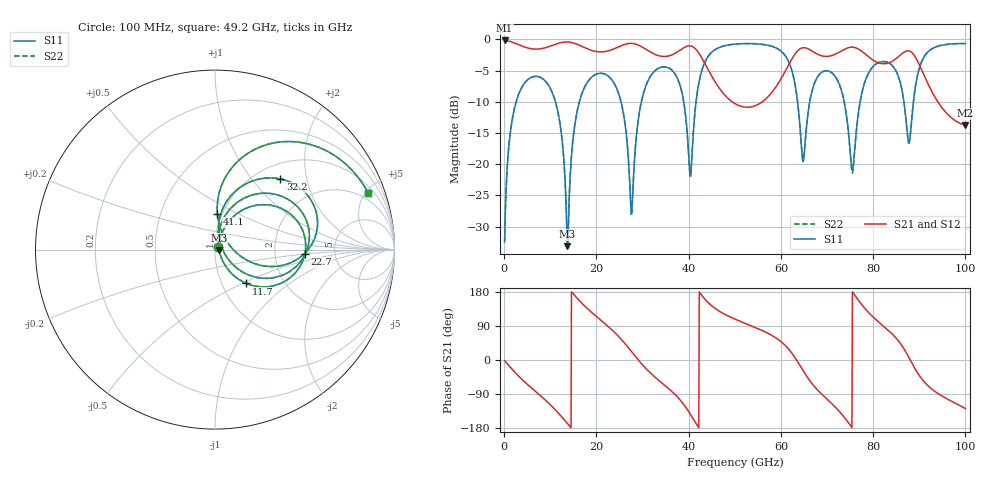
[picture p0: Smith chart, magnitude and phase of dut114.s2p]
! Touchstone file exported from HFSS 2026.1.0
!  File:  C:/ffzhzh/LocalFiles/Ansys_Project_Files/temp_train_TSV_RDL_114_1783457869_41684.aedt
!  Generated:  05:09:33 AM Jul  8, 2026
!  Design:  TSV_RDL
!  Project:  temp_train_TSV_RDL_114_1783457869_41684
! Variables:
!  h_bsmrdl = 4.75um
!  h_ox = 20um
!  h_rdl = 5um
!  h_sub = 87.86um
!  h_tmrdl = 3.86um
!  h_tsv = 87.86um
!  h_via = 3um
!  l_bsmrdl = 279.56um
!  l_sub = 3782.44um
!  l_tmrdl = 610.38um
!  m_sub = 200um
!  pitch = 49.2um
!  r_tsv = 13.8um
!  s_tmrdl = 10um
!  w_bsmrdl = 18.85um
!  w_sub = 500um
!  w_tmrdl = 15.23um
!  x_tsv_center1 = 617.995um
!  x_tsv_center2 = 916.405um
!  x_tsv_center3 = 1542.015um
!  x_tsv_center4 = 1840.425um
!  x_tsv_center5 = 2466.035um
!  x_tsv_center6 = 2764.445um
# GHz S MA R 50.000000
! Terminal data exported
! Port[1] = TM_RDL1_1_T1
! Port[2] = TM_RDL5_1_T1
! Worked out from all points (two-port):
!   1000 points, 100 MHz to 100 GHz, reference 50 ohm
!   highest |S21| = -0.17 dB at 100 MHz (marker M1); lowest = -13.7 dB at 100 GHz (marker M2)
!   |S21| within 3 dB of the highest: start of sweep to 43 GHz; 62.37 GHz to 79.68 GHz (17.32 GHz wide, 24.4 % of centre) (the widest 2 of 3)
!   lowest |S11| = -33.1 dB at 13.7 GHz (marker M3), VSWR 1.05, Z = 52.3 - j0.151 ohm
!   |S11| at or under -10 dB: 11.11 GHz to 16.3 GHz (5.19 GHz wide, 37.9 % of centre); 25.33 GHz to 29.75 GHz (4.413 GHz wide, 16 % of centre); 73.72 GHz to 77.17 GHz (3.443 GHz wide, 4.56 % of centre) (the widest 3 of 7)
!   |S22| runs from -32.9 to -0.7 dB; largest |S21 - S12| = 2.9e-13
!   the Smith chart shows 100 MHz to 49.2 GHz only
!   S11 on the Smith chart (normalised r, x): 100 MHz: 1.04, +0.03; 11.7 GHz: 1.30, -0.53; 22.7 GHz: 3.01, -0.20; 32.2 GHz: 1.28, +1.41; 41.1 GHz: 0.95, +0.39; 49.2 GHz: 1.42, +5.20
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0.1  0.02386 36.5  0.9811 -1.5  0.9811 -1.5  0.02386 36.5
! Gamma 0 0 0 0
! Port Impedance 50 0 50 0
3.7  0.4046 37.2  0.8893 -49.3  0.8893 -49.3  0.4046 37.2
11.7  0.2571 -47.2  0.9295 -139.3  0.9295 -139.3  0.2572 -47.1
13.7  0.02208 -3.7  0.9546 -167.3  0.9546 -167.3  0.02264 -3.4
16.8  0.3627 56.4  0.8807 150.5  0.8807 150.5  0.3628 56.3
22.7  0.5035 -2.8  0.8122 86.9  0.8122 86.9  0.5036 -2.9
27.6  0.0399 18.7  0.9294 22.5  0.9294 22.5  0.03872 18.4
32.2  0.5366 47.2  0.7743 -39.8  0.7743 -39.8  0.5365 47.2
33.4  0.5861 35.6  0.7424 -52.5  0.7424 -52.5  0.586 35.7
38.5  0.3817 -13.5  0.8372 -110.5  0.8372 -110.5  0.3818 -13.4
41.1  0.1992 86.2  0.8652 -157.7  0.8652 -157.7  0.1991 86.2
49.2  0.9096 20.4  0.3214 112.5  0.3214 112.5  0.9095 20.4
50.1  0.9175 15.9  0.3051 107.6  0.3051 107.6  0.9174 16.0
61.3  0.7064 -49.2  0.5884 33.9  0.5884 33.9  0.7066 -49.1
64.8  0.1047 -26.9  0.8584 -27.9  0.8584 -27.9  0.1086 -26.9
66.7  0.3802 17.8  0.8093 -61.6  0.8093 -61.6  0.3809 17.3
72.1  0.4838 -33.3  0.771 -128.0  0.771 -128.0  0.4834 -33.8
75.3  0.09741 -21.1  0.8671 -176.6  0.8671 -176.6  0.0927 -22.4
83.4  0.648 -11.3  0.6495 77.0  0.6495 77.0  0.6481 -11.0
87.7  0.1474 -2.8  0.8099 8.1  0.8099 8.1  0.1501 -2.6
90.3  0.6336 31.1  0.5939 -46.0  0.5939 -46.0  0.6338 31.0
100  0.9268 -38.8  0.2056 -127.9  0.2056 -127.9  0.9265 -38.8
